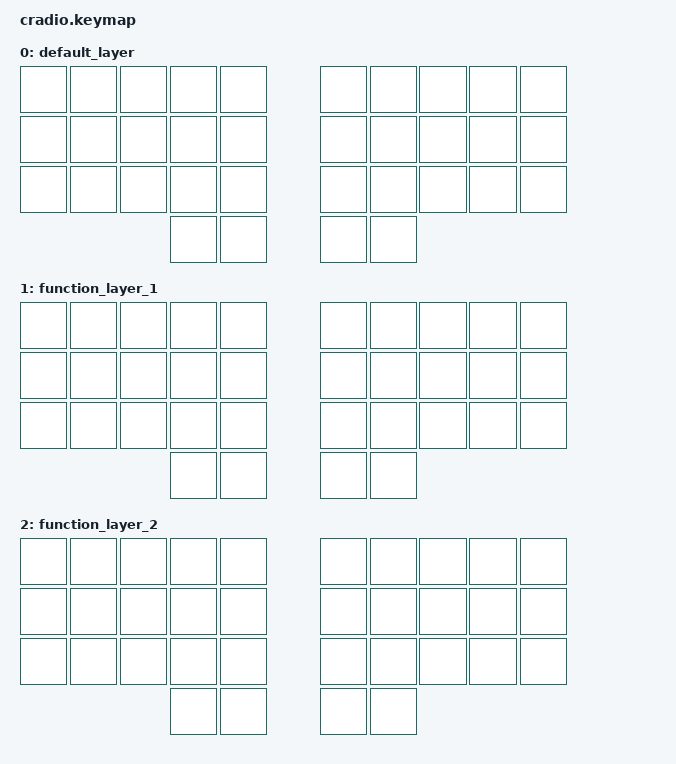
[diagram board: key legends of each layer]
/*
 * Copyright (c) 2020 The ZMK Contributors
 *
 * SPDX-License-Identifier: MIT
 */

#include <behaviors.dtsi>
#include <dt-bindings/zmk/bt.h>
#include <dt-bindings/zmk/keys.h>
#include <dt-bindings/zmk/outputs.h>

// CONFIG
#define COMBO_TIMEOUT 70
#define BASE_COMBO_LAYERS 0
#define FUNC_COMBO_LAYER_1 1
#define FUNC_COMBO_LAYER_2 2
#define STICKY_TIMEOUT 500

// LEFT SIDE
#define TLI 3 // TOP
#define TLM 2 // TOP
#define TLR 1 // TOP
#define TLP 0 // TOP
#define BLI 13 // BOTTOM
#define BLM 12 // BOTTOM
#define BLR 11 // BOTTOM
#define BLP 10 // BOTTOM
#define LOT 31 // O-THUMB
#define LIT 30 // I-THUMB

// RIGHT SIDE
#define TRI 6 // TOP
#define TRM 7 // TOP
#define TRR 8 // TOP
#define TRP 9 // TOP
#define BRI 16 // BOTTOM
#define BRM 17 // BOTTOM
#define BRR 18 // BOTTOM
#define BRP 19 // BOTTOM
#define ROT 32 // O-THUMB
#define RIT 33 // I-THUMB

&sk {
    release-after-ms = <STICKY_TIMEOUT>;
    quick-release;
};

/ {
  combos {
    compatible = "zmk,combos";
    #include "taipo.dtsi"
  };

  keymap {
    compatible = "zmk,keymap";

    default_layer {
      bindings = <
        &none           &none            &none             &none            &none                 &none            &none            &none            &none            &none
        &none           &none            &none             &none            &none                 &none            &none            &none            &none            &none
        &none           &none            &none             &none            &none                 &none            &none            &none            &none            &none
                                                           &none            &none                 &none            &none
      >;
    };

    function_layer_1 {
      bindings = <
        &none           &none            &none             &none            &none                 &none            &none            &none            &none            &none
        &none           &none            &none             &none            &none                 &none            &none            &none            &none            &none
        &none           &none            &none             &none            &none                 &none            &none            &none            &none            &none
                                                           &none            &none                 &none            &none
      >;
    };

    function_layer_2 {
      bindings = <
        &none           &none            &none             &none            &none                 &none            &none            &none            &none            &none
        &none           &none            &none             &none            &none                 &none            &none            &none            &none            &none
        &none           &none            &none             &none            &none                 &none            &none            &none            &none            &none
                                                           &none            &none                 &none            &none
      >;
    };
  };
};
